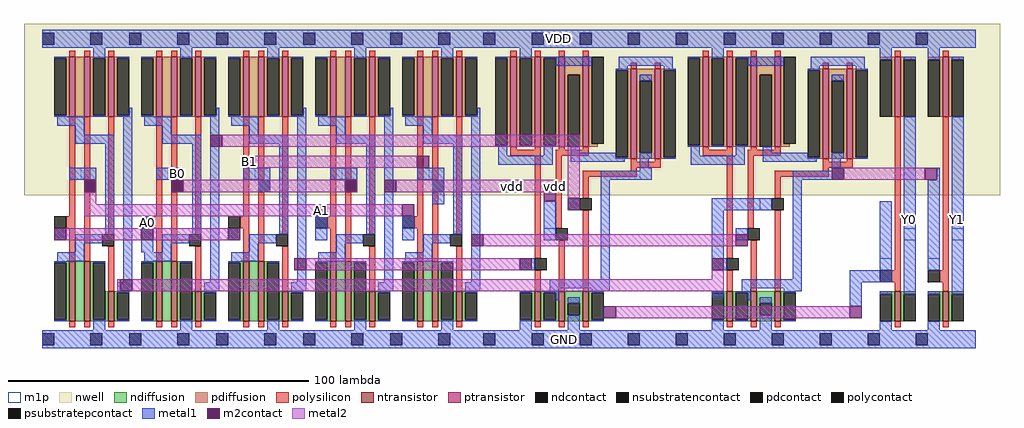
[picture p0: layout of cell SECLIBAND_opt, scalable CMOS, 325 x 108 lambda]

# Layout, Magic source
magic
tech scmos
<< nwell >>
rect -2 97 309 103
rect 65 57 69 61
rect 36 53 45 57
rect 65 53 74 57
rect 94 53 103 57
rect 41 49 45 53
rect 99 49 103 53
<< metal1 >>
rect -2 97 309 103
rect 36 53 45 57
rect 65 53 74 57
rect 94 53 103 57
rect 123 53 132 57
rect 70 49 74 53
rect 128 45 132 53
rect 31 37 35 41
rect 89 33 93 41
rect 118 33 122 41
rect 165 36 169 46
rect 221 43 241 47
rect 31 29 35 33
rect 221 27 225 43
rect 267 19 281 23
rect 221 14 225 16
rect 267 11 271 19
rect 285 16 289 74
rect 296 53 297 57
rect 293 26 297 53
rect 301 16 305 74
rect -2 -3 309 3
<< m2contact >>
rect 54 64 58 68
rect 65 57 69 61
rect 123 57 127 61
rect 261 53 265 57
rect 12 49 16 53
rect 41 49 45 53
rect 99 49 103 53
rect 112 49 116 53
rect 165 46 169 50
rect 89 41 93 45
rect 2 33 6 37
rect 31 33 35 37
rect 60 33 64 37
rect 118 41 122 45
rect 173 43 177 47
rect 141 31 145 35
rect 229 31 233 35
rect 82 23 86 27
rect 157 23 161 27
rect 221 23 225 27
rect 24 16 28 20
rect 292 53 296 57
rect 185 7 189 11
rect 267 7 271 11
<< metal2 >>
rect 58 64 177 68
rect 69 57 123 61
rect 45 49 99 53
rect 116 50 169 53
rect 116 49 165 50
rect 12 45 16 49
rect 173 47 177 64
rect 265 53 292 57
rect 12 41 89 45
rect 93 41 118 45
rect 6 33 31 37
rect 35 33 60 37
rect 145 31 229 35
rect 86 23 157 27
rect 221 20 225 23
rect 23 16 24 20
rect 28 16 225 20
rect 189 7 267 11
use CELM2X1  CELM2X1_3
transform 1 0 116 0 1 0
box -8 -3 37 105
use CELM2X1  CELM2X1_2
transform 1 0 87 0 1 0
box -8 -3 37 105
use CELM2X1  CELM2X1_1
transform 1 0 58 0 1 0
box -8 -3 37 105
use CELM2X1  CELM2X1_0
transform 1 0 29 0 1 0
box -8 -3 37 105
use CELM2X1  CELM2X1_4
transform 1 0 0 0 1 0
box -8 -3 37 105
use NOR3X1  NOR3X1_1
transform 1 0 211 0 1 0
box -7 -3 68 105
use NOR3X1  NOR3X1_0
transform 1 0 147 0 1 0
box -7 -3 68 105
use INVX1  INVX1_0
transform 1 0 275 0 1 0
box -9 -3 26 105
use INVX1  INVX1_1
transform 1 0 291 0 1 0
box -9 -3 26 105
<< labels >>
rlabel space 21 -3 317 105 1 vdd
rlabel space 21 -3 317 105 1 gnd
rlabel metal1 303 40 303 40 1 Y1
port 6 n signal output
rlabel space -8 -3 317 105 1 vdd
rlabel space -8 -3 317 105 1 gnd
rlabel metal1 170 100 170 100 1 VDD
port 7 n power bidirectional
rlabel metal1 173 100 173 100 1 VDD!
port 9 n power bidirectional
rlabel m2contact 67 59 67 59 1 B1
port 3 n signal input
rlabel metal1 33 39 33 39 1 A0
port 2 n signal input
rlabel metal1 43 55 43 55 1 B0
port 1 n signal input
rlabel m2contact 91 43 91 43 1 A1
port 4 n signal input
rlabel metal1 172 0 172 0 1 GND
port 8 n ground bidirectional
rlabel metal1 287 40 287 40 1 Y0
port 5 n signal output
rlabel metal1 167 0 167 0 1 GND!
port 10 n ground bidirectional
<< end >>

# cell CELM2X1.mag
magic
tech scmos
magscale 1 2
<< nwell >>
rect -16 96 76 210
<< ntransistor >>
rect 14 12 18 52
rect 24 12 28 52
rect 40 12 44 32
<< ptransistor >>
rect 14 148 18 188
rect 24 148 28 188
rect 40 148 44 188
<< ndiffusion >>
rect 4 51 14 52
rect 12 13 14 51
rect 4 12 14 13
rect 18 12 24 52
rect 28 51 38 52
rect 28 13 30 51
rect 38 13 40 32
rect 28 12 40 13
rect 44 31 54 32
rect 44 13 46 31
rect 44 12 54 13
<< pdiffusion >>
rect 4 187 14 188
rect 12 149 14 187
rect 4 148 14 149
rect 18 148 24 188
rect 28 187 40 188
rect 28 149 30 187
rect 38 149 40 187
rect 28 148 40 149
rect 44 187 54 188
rect 44 149 46 187
rect 44 148 54 149
<< ndcontact >>
rect 4 13 12 51
rect 30 13 38 51
rect 46 13 54 31
<< pdcontact >>
rect 4 149 12 187
rect 30 149 38 187
rect 46 149 54 187
<< psubstratepcontact >>
rect -4 -4 4 4
rect 28 -4 36 4
<< nsubstratencontact >>
rect -4 196 4 204
rect 28 196 36 204
<< polysilicon >>
rect 14 188 18 192
rect 24 188 28 192
rect 40 188 44 192
rect 14 82 18 148
rect 12 74 18 82
rect 14 52 18 74
rect 24 106 28 148
rect 24 52 28 98
rect 40 70 44 148
rect 40 32 44 62
rect 14 8 18 12
rect 24 8 28 12
rect 40 8 44 12
<< polycontact >>
rect 4 74 12 82
rect 24 98 32 106
rect 36 62 44 70
<< metal1 >>
rect -4 204 64 206
rect 4 196 28 204
rect 36 196 64 204
rect -4 194 64 196
rect 4 187 12 188
rect 4 148 12 149
rect 30 187 38 194
rect 30 148 38 149
rect 46 187 54 188
rect 54 149 56 154
rect 46 148 56 149
rect 6 142 24 148
rect 18 136 24 142
rect 18 130 44 136
rect 14 106 32 114
rect 4 66 12 74
rect 38 70 44 130
rect 18 64 36 70
rect 18 58 24 64
rect 6 52 24 58
rect 4 51 12 52
rect 4 12 12 13
rect 30 51 38 52
rect 50 38 56 148
rect 30 6 38 13
rect 46 32 56 38
rect 46 31 54 32
rect 46 12 54 13
rect -4 4 62 6
rect 4 -4 28 4
rect 36 -4 62 4
rect -4 -6 62 -4
<< m1p >>
rect 14 106 22 114
rect 4 66 12 74
<< labels >>
rlabel metal1 8 200 8 200 4 vdd
port 5 se power bidirectional
rlabel metal1 8 0 8 0 4 gnd
port 4 se ground bidirectional
rlabel metal1 8 70 8 70 4 A
port 3 se signal input
rlabel ntransistor 44 22 44 22 1 D$
rlabel ntransistor 40 22 40 22 1 S$
rlabel ntransistor 28 22 28 22 1 S$
rlabel ntransistor 18 22 18 22 1 S$
rlabel ntransistor 24 22 24 22 1 D$
rlabel ntransistor 14 22 14 22 1 D$
rlabel metal1 18 110 18 110 4 B
port 1 se signal input
rlabel ptransistor 28 170 28 170 1 S$
rlabel ptransistor 24 170 24 170 1 D$
rlabel ptransistor 44 170 44 170 1 D$
rlabel ptransistor 40 170 40 170 1 S$
rlabel ptransistor 18 170 18 170 1 S$
rlabel ptransistor 14 170 14 170 1 D$
rlabel metal1 52 120 52 120 4 Y
port 2 se signal output
<< end >>

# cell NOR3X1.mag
magic
tech scmos
magscale 1 2
<< nwell >>
rect -14 96 136 210
<< ntransistor >>
rect 30 12 34 32
rect 46 12 50 32
rect 62 12 66 32
<< ptransistor >>
rect 14 128 18 188
rect 30 128 34 188
rect 46 128 50 188
rect 62 128 66 188
rect 94 120 98 180
rect 110 120 114 180
<< ndiffusion >>
rect 20 31 30 32
rect 28 13 30 31
rect 20 12 30 13
rect 34 31 46 32
rect 34 13 36 31
rect 44 13 46 31
rect 34 12 46 13
rect 50 24 62 32
rect 50 16 52 24
rect 60 16 62 24
rect 50 12 62 16
rect 66 31 76 32
rect 66 13 68 31
rect 66 12 76 13
<< pdiffusion >>
rect 4 187 14 188
rect 12 129 14 187
rect 4 128 14 129
rect 18 187 30 188
rect 18 129 20 187
rect 28 129 30 187
rect 18 128 30 129
rect 34 187 46 188
rect 34 129 36 187
rect 44 129 46 187
rect 34 128 46 129
rect 50 176 62 188
rect 50 128 52 176
rect 60 128 62 176
rect 66 130 68 188
rect 84 179 94 180
rect 66 128 72 130
rect 92 121 94 179
rect 84 120 94 121
rect 98 172 110 180
rect 98 124 100 172
rect 108 124 110 172
rect 98 120 110 124
rect 114 179 124 180
rect 114 121 116 179
rect 114 120 124 121
<< ndcontact >>
rect 20 13 28 31
rect 36 13 44 31
rect 52 16 60 24
rect 68 13 76 31
<< pdcontact >>
rect 4 129 12 187
rect 20 129 28 187
rect 36 129 44 187
rect 52 128 60 176
rect 68 130 76 188
rect 84 121 92 179
rect 100 124 108 172
rect 116 121 124 179
<< psubstratepcontact >>
rect -4 -4 4 4
rect 28 -4 36 4
rect 60 -4 68 4
rect 92 -4 100 4
<< nsubstratencontact >>
rect -4 196 4 204
rect 28 196 36 204
rect 60 196 68 204
rect 92 196 100 204
<< polysilicon >>
rect 14 188 18 192
rect 30 188 34 192
rect 46 188 50 192
rect 62 188 66 192
rect 94 180 98 184
rect 110 180 114 184
rect 14 126 18 128
rect 30 126 34 128
rect 46 126 50 128
rect 62 126 66 128
rect 14 122 34 126
rect 30 54 34 122
rect 44 122 66 126
rect 44 74 48 122
rect 94 118 98 120
rect 110 118 114 120
rect 94 114 114 118
rect 94 112 98 114
rect 62 108 98 112
rect 62 94 66 108
rect 30 32 34 46
rect 46 32 50 66
rect 62 32 66 86
rect 30 8 34 12
rect 46 8 50 12
rect 62 8 66 12
<< polycontact >>
rect 60 86 68 94
rect 44 66 52 74
rect 30 46 38 54
<< metal1 >>
rect -4 204 132 206
rect 4 196 28 204
rect 36 196 60 204
rect 68 196 92 204
rect 100 196 132 204
rect -4 194 132 196
rect 4 187 12 188
rect 4 128 12 129
rect 20 187 28 194
rect 20 128 28 129
rect 36 187 68 188
rect 44 182 68 187
rect 36 128 44 129
rect 86 182 122 188
rect 86 180 92 182
rect 84 179 92 180
rect 6 122 12 128
rect 36 122 42 128
rect 6 116 42 122
rect 54 124 60 128
rect 54 121 84 124
rect 116 180 122 182
rect 116 179 124 180
rect 54 120 92 121
rect 100 172 108 176
rect 100 120 108 124
rect 116 120 124 121
rect 54 118 90 120
rect 100 114 106 120
rect 100 112 108 114
rect 74 106 108 112
rect 52 86 60 94
rect 36 66 44 74
rect 20 46 30 54
rect 74 40 80 106
rect 40 34 80 40
rect 40 32 46 34
rect 20 31 28 32
rect 20 6 28 13
rect 36 31 46 32
rect 44 26 46 31
rect 68 32 80 34
rect 68 31 76 32
rect 36 12 44 13
rect 52 24 60 28
rect 52 6 60 16
rect 68 12 76 13
rect -4 4 132 6
rect 4 -4 28 4
rect 36 -4 60 4
rect 68 -4 92 4
rect 100 -4 132 4
rect -4 -6 132 -4
<< m1p >>
rect 100 106 108 114
rect 52 86 60 94
rect 36 66 44 74
rect 20 46 28 54
<< labels >>
rlabel metal1 8 200 8 200 4 vdd
port 2 se power bidirectional
rlabel metal1 8 0 8 0 4 gnd
port 1 se ground bidirectional
rlabel metal1 40 70 40 70 4 B
port 4 se signal input
rlabel metal1 56 90 56 90 4 C
port 5 se signal input
rlabel metal1 24 50 24 50 4 A
port 3 se signal input
rlabel metal1 104 110 104 110 4 Y
port 6 se signal output
rlabel ntransistor 62 20 62 20 1 S$
rlabel ntransistor 66 20 66 20 1 D$
rlabel ntransistor 50 20 50 20 1 S$
rlabel ntransistor 46 20 46 20 1 D$
rlabel ntransistor 34 20 34 20 1 D$
rlabel ntransistor 30 20 30 20 1 S$
rlabel ptransistor 18 170 18 170 1 S$
rlabel ptransistor 14 170 14 170 1 D$
rlabel ptransistor 34 170 34 170 1 D$
rlabel ptransistor 30 170 30 170 1 S$
rlabel ptransistor 46 170 46 170 1 S$
rlabel ptransistor 50 170 50 170 1 D$
rlabel ptransistor 62 170 62 170 1 D$
rlabel ptransistor 66 170 66 170 1 S$
rlabel ptransistor 94 170 94 170 1 S$
rlabel ptransistor 114 170 114 170 1 S$
rlabel ptransistor 110 170 110 170 1 D$
rlabel ptransistor 98 170 98 170 1 D$
<< end >>

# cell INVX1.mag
magic
tech scmos
<< nwell >>
rect -9 48 26 105
<< ntransistor >>
rect 7 6 9 16
<< ptransistor >>
rect 7 74 9 94
<< ndiffusion >>
rect 2 15 7 16
rect 6 6 7 15
rect 9 15 14 16
rect 9 6 10 15
<< pdiffusion >>
rect 2 93 7 94
rect 6 74 7 93
rect 9 93 14 94
rect 9 74 10 93
<< ndcontact >>
rect 2 6 6 15
rect 10 6 14 15
<< pdcontact >>
rect 2 74 6 93
rect 10 74 14 93
<< psubstratepcontact >>
rect -2 -2 2 2
<< nsubstratencontact >>
rect -2 98 2 102
<< polysilicon >>
rect 7 94 9 96
rect 7 23 9 74
rect 6 19 9 23
rect 7 16 9 19
rect 7 4 9 6
<< polycontact >>
rect 2 19 6 23
<< metal1 >>
rect -2 102 18 103
rect 2 98 18 102
rect -2 97 18 98
rect 2 93 6 97
rect 10 93 14 94
rect 2 23 6 46
rect 2 15 6 16
rect 10 15 14 74
rect 2 3 6 6
rect -2 2 18 3
rect 2 -2 18 2
rect -2 -3 18 -2
<< m1p >>
rect 10 33 14 37
rect 2 23 6 27
<< labels >>
rlabel metal1 4 25 4 25 4 A
port 3 se signal input
rlabel metal1 12 35 12 35 4 Y
port 4 se signal output
rlabel metal1 4 100 4 100 4 vdd
port 2 se power bidirectional
rlabel metal1 4 0 4 0 4 gnd
port 1 se ground bidirectional
<< end >>
